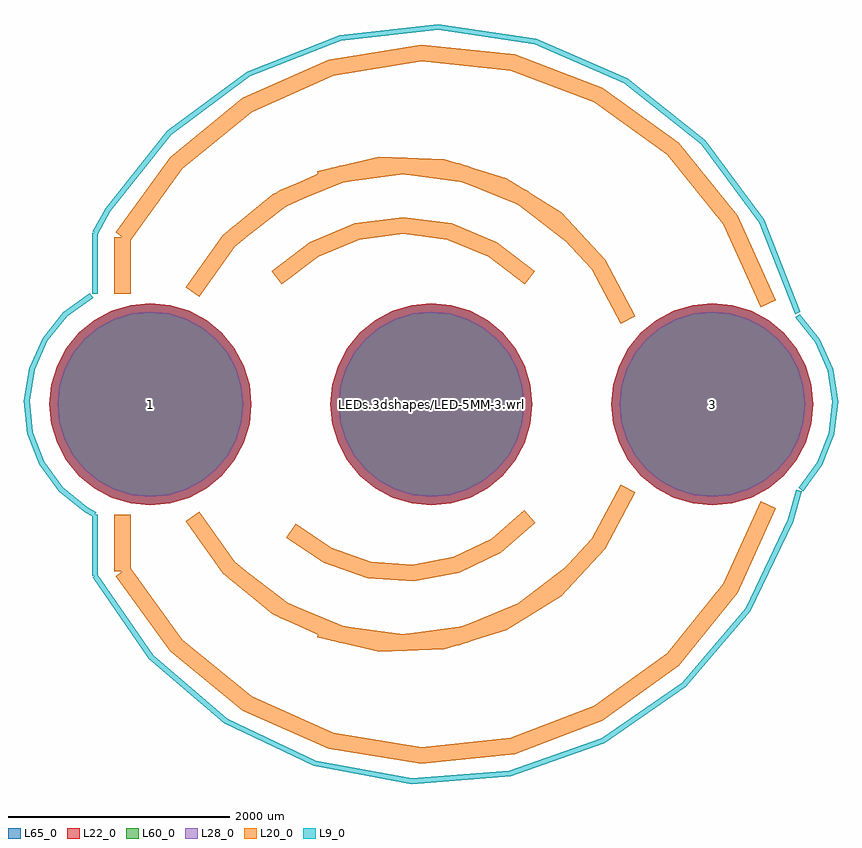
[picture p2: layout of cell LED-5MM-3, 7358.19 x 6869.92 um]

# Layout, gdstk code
import gdstk
lib = gdstk.Library(unit=1e-6, precision=1e-09)
def P(c, l, *ps):  # polygons
    for p in ps: c.add(gdstk.Polygon(p, *l))
L9_0 = (9, 0)
L20_0 = (20, 0)
L22_0 = (22, 0)
L28_0 = (28, 0)
L60_0 = (60, 0)
L65_0 = (65, 0)

led_5mm_3 = lib.new_cell('LED-5MM-3')
P(led_5mm_3, L22_0, [(5993.2,0),(5975.653,178.156),(5923.687,349.467),(5839.298,507.347),(5725.73,645.73),(5587.347,759.298),(5429.467,843.687),(5258.156,895.653),(5080,913.2),(4901.844,895.653),(4730.533,843.687),(4572.653,759.298),(4434.27,645.73),(4320.702,507.347),(4236.313,349.467),(4184.347,178.156),(4166.8,0),(4184.347,-178.156),(4236.313,-349.467),(4320.702,-507.347),(4434.27,-645.73),(4572.653,-759.298),(4730.533,-843.687),(4901.844,-895.653),(5080,-913.2),(5258.156,-895.653),(5429.467,-843.687),(5587.347,-759.298),(5725.73,-645.73),(5839.298,-507.347),(5923.687,-349.467),(5975.653,-178.156)],
  [(3453.2,0),(3435.653,178.156),(3383.687,349.467),(3299.298,507.347),(3185.73,645.73),(3047.347,759.298),(2889.467,843.687),(2718.156,895.653),(2540,913.2),(2361.844,895.653),(2190.533,843.687),(2032.653,759.298),(1894.27,645.73),(1780.702,507.347),(1696.313,349.467),(1644.347,178.156),(1626.8,0),(1644.347,-178.156),(1696.313,-349.467),(1780.702,-507.347),(1894.27,-645.73),(2032.653,-759.298),(2190.533,-843.687),(2361.844,-895.653),(2540,-913.2),(2718.156,-895.653),(2889.467,-843.687),(3047.347,-759.298),(3185.73,-645.73),(3299.298,-507.347),(3383.687,-349.467),(3435.653,-178.156)],
  [(913.2,0),(895.653,178.156),(843.687,349.467),(759.298,507.347),(645.73,645.73),(507.347,759.298),(349.467,843.687),(178.156,895.653),(0,913.2),(-178.156,895.653),(-349.467,843.687),(-507.347,759.298),(-645.73,645.73),(-759.298,507.347),(-843.687,349.467),(-895.653,178.156),(-913.2,0),(-895.653,-178.156),(-843.687,-349.467),(-759.298,-507.347),(-645.73,-645.73),(-507.347,-759.298),(-349.467,-843.687),(-178.156,-895.653),(0,-913.2),(178.156,-895.653),(349.467,-843.687),(507.347,-759.298),(645.73,-645.73),(759.298,-507.347),(843.687,-349.467),(895.653,-178.156)])
P(led_5mm_3, L28_0, [(5918.2,0),(5902.094,163.525),(5854.396,320.765),(5776.938,465.679),(5672.697,592.697),(5545.679,696.938),(5400.765,774.396),(5243.525,822.094),(5080,838.2),(4916.475,822.094),(4759.235,774.396),(4614.321,696.938),(4487.303,592.697),(4383.062,465.679),(4305.604,320.765),(4257.906,163.525),(4241.8,0),(4257.906,-163.525),(4305.604,-320.765),(4383.062,-465.679),(4487.303,-592.697),(4614.321,-696.938),(4759.235,-774.396),(4916.475,-822.094),(5080,-838.2),(5243.525,-822.094),(5400.765,-774.396),(5545.679,-696.938),(5672.697,-592.697),(5776.938,-465.679),(5854.396,-320.765),(5902.094,-163.525)],
  [(3378.2,0),(3362.094,163.525),(3314.396,320.765),(3236.938,465.679),(3132.697,592.697),(3005.679,696.938),(2860.765,774.396),(2703.525,822.094),(2540,838.2),(2376.475,822.094),(2219.235,774.396),(2074.321,696.938),(1947.303,592.697),(1843.062,465.679),(1765.604,320.765),(1717.906,163.525),(1701.8,0),(1717.906,-163.525),(1765.604,-320.765),(1843.062,-465.679),(1947.303,-592.697),(2074.321,-696.938),(2219.235,-774.396),(2376.475,-822.094),(2540,-838.2),(2703.525,-822.094),(2860.765,-774.396),(3005.679,-696.938),(3132.697,-592.697),(3236.938,-465.679),(3314.396,-320.765),(3362.094,-163.525)],
  [(838.2,0),(822.094,163.525),(774.396,320.765),(696.938,465.679),(592.697,592.697),(465.679,696.938),(320.765,774.396),(163.525,822.094),(0,838.2),(-163.525,822.094),(-320.765,774.396),(-465.679,696.938),(-592.697,592.697),(-696.938,465.679),(-774.396,320.765),(-822.094,163.525),(-838.2,0),(-822.094,-163.525),(-774.396,-320.765),(-696.938,-465.679),(-592.697,-592.697),(-465.679,-696.938),(-320.765,-774.396),(-163.525,-822.094),(0,-838.2),(163.525,-822.094),(320.765,-774.396),(465.679,-696.938),(592.697,-592.697),(696.938,-465.679),(774.396,-320.765),(822.094,-163.525)])
P(led_5mm_3, L60_0, [(5918.2,0),(5902.094,163.525),(5854.396,320.765),(5776.938,465.679),(5672.697,592.697),(5545.679,696.938),(5400.765,774.396),(5243.525,822.094),(5080,838.2),(4916.475,822.094),(4759.235,774.396),(4614.321,696.938),(4487.303,592.697),(4383.062,465.679),(4305.604,320.765),(4257.906,163.525),(4241.8,0),(4257.906,-163.525),(4305.604,-320.765),(4383.062,-465.679),(4487.303,-592.697),(4614.321,-696.938),(4759.235,-774.396),(4916.475,-822.094),(5080,-838.2),(5243.525,-822.094),(5400.765,-774.396),(5545.679,-696.938),(5672.697,-592.697),(5776.938,-465.679),(5854.396,-320.765),(5902.094,-163.525)],
  [(3378.2,0),(3362.094,163.525),(3314.396,320.765),(3236.938,465.679),(3132.697,592.697),(3005.679,696.938),(2860.765,774.396),(2703.525,822.094),(2540,838.2),(2376.475,822.094),(2219.235,774.396),(2074.321,696.938),(1947.303,592.697),(1843.062,465.679),(1765.604,320.765),(1717.906,163.525),(1701.8,0),(1717.906,-163.525),(1765.604,-320.765),(1843.062,-465.679),(1947.303,-592.697),(2074.321,-696.938),(2219.235,-774.396),(2376.475,-822.094),(2540,-838.2),(2703.525,-822.094),(2860.765,-774.396),(3005.679,-696.938),(3132.697,-592.697),(3236.938,-465.679),(3314.396,-320.765),(3362.094,-163.525)],
  [(838.2,0),(822.094,163.525),(774.396,320.765),(696.938,465.679),(592.697,592.697),(465.679,696.938),(320.765,774.396),(163.525,822.094),(0,838.2),(-163.525,822.094),(-320.765,774.396),(-465.679,696.938),(-592.697,592.697),(-696.938,465.679),(-774.396,320.765),(-822.094,163.525),(-838.2,0),(-822.094,-163.525),(-774.396,-320.765),(-696.938,-465.679),(-592.697,-592.697),(-465.679,-696.938),(-320.765,-774.396),(-163.525,-822.094),(0,-838.2),(163.525,-822.094),(320.765,-774.396),(465.679,-696.938),(592.697,-592.697),(696.938,-465.679),(774.396,-320.765),(822.094,-163.525)])
P(led_5mm_3, L65_0, [(5993.2,0),(5975.653,178.156),(5923.687,349.467),(5839.298,507.347),(5725.73,645.73),(5587.347,759.298),(5429.467,843.687),(5258.156,895.653),(5080,913.2),(4901.844,895.653),(4730.533,843.687),(4572.653,759.298),(4434.27,645.73),(4320.702,507.347),(4236.313,349.467),(4184.347,178.156),(4166.8,0),(4184.347,-178.156),(4236.313,-349.467),(4320.702,-507.347),(4434.27,-645.73),(4572.653,-759.298),(4730.533,-843.687),(4901.844,-895.653),(5080,-913.2),(5258.156,-895.653),(5429.467,-843.687),(5587.347,-759.298),(5725.73,-645.73),(5839.298,-507.347),(5923.687,-349.467),(5975.653,-178.156)],
  [(3453.2,0),(3435.653,178.156),(3383.687,349.467),(3299.298,507.347),(3185.73,645.73),(3047.347,759.298),(2889.467,843.687),(2718.156,895.653),(2540,913.2),(2361.844,895.653),(2190.533,843.687),(2032.653,759.298),(1894.27,645.73),(1780.702,507.347),(1696.313,349.467),(1644.347,178.156),(1626.8,0),(1644.347,-178.156),(1696.313,-349.467),(1780.702,-507.347),(1894.27,-645.73),(2032.653,-759.298),(2190.533,-843.687),(2361.844,-895.653),(2540,-913.2),(2718.156,-895.653),(2889.467,-843.687),(3047.347,-759.298),(3185.73,-645.73),(3299.298,-507.347),(3383.687,-349.467),(3435.653,-178.156)],
  [(913.2,0),(895.653,178.156),(843.687,349.467),(759.298,507.347),(645.73,645.73),(507.347,759.298),(349.467,843.687),(178.156,895.653),(0,913.2),(-178.156,895.653),(-349.467,843.687),(-507.347,759.298),(-645.73,645.73),(-759.298,507.347),(-843.687,349.467),(-895.653,178.156),(-913.2,0),(-895.653,-178.156),(-843.687,-349.467),(-759.298,-507.347),(-645.73,-645.73),(-507.347,-759.298),(-349.467,-843.687),(-178.156,-895.653),(0,-913.2),(178.156,-895.653),(349.467,-843.687),(507.347,-759.298),(645.73,-645.73),(759.298,-507.347),(843.687,-349.467),(895.653,-178.156)])
led_5mm_3.add(gdstk.FlexPath([(-254,1510),(-254,1000)], 149.998, ends="flush", simple_path=True, layer=20, datatype=0))  # L20_0
led_5mm_3.add(gdstk.FlexPath([(-254,-1000),(-254,-1510)], 149.998, ends="flush", simple_path=True, layer=20, datatype=0))  # L20_0
led_5mm_3.add(gdstk.FlexPath([(3810,1524),(3363.631,1866.511),(2843.823,2081.823),(2286,2155.261),(1728.177,2081.823),(1208.369,1866.511),(762,1524)], 149.998, ends="flush", simple_path=True, layer=20, datatype=0))  # L20_0
led_5mm_3.add(gdstk.FlexPath([(762,-1524),(1208.369,-1866.511),(1728.177,-2081.823),(2286,-2155.261),(2843.823,-2081.823),(3363.631,-1866.511),(3810,-1524)], 149.998, ends="flush", simple_path=True, layer=20, datatype=0))  # L20_0
led_5mm_3.add(gdstk.FlexPath([(3302,1905),(2774.33,2103.049),(2213.382,2157.778),(1657.382,2065.459),(1144.222,1832.382),(708.871,1474.431),(381,1016)], 149.998, ends="flush", simple_path=True, layer=20, datatype=0))  # L20_0
led_5mm_3.add(gdstk.FlexPath([(4318,762),(4051.541,1261.956),(3664.764,1675.911),(3184.026,1975.656),(2642.089,2140.763),(2075.885,2159.981),(1524.001,2032)], 149.998, ends="flush", simple_path=True, layer=20, datatype=0))  # L20_0
led_5mm_3.add(gdstk.FlexPath([(1524,-2032),(2075.885,-2159.981),(2642.089,-2140.764),(3184.026,-1975.656),(3664.764,-1675.911),(4051.541,-1261.956),(4318,-762)], 149.998, ends="flush", simple_path=True, layer=20, datatype=0))  # L20_0
led_5mm_3.add(gdstk.FlexPath([(381,-1016),(708.872,-1474.431),(1144.222,-1832.382),(1657.382,-2065.459),(2213.382,-2157.778),(2774.33,-2103.048),(3301.999,-1905)], 149.998, ends="flush", simple_path=True, layer=20, datatype=0))  # L20_0
led_5mm_3.add(gdstk.FlexPath([(1270,-1143),(1600.45,-1367.013),(1977.618,-1497.867),(2375.803,-1526.644),(2767.867,-1451.382),(3127.093,-1277.211),(3429,-1016)], 149.998, ends="flush", simple_path=True, layer=20, datatype=0))  # L20_0
led_5mm_3.add(gdstk.FlexPath([(3429,1143),(3094.223,1399.883),(2704.367,1561.367),(2286,1616.446),(1867.633,1561.367),(1477.777,1399.883),(1143,1143)], 149.998, ends="flush", simple_path=True, layer=20, datatype=0))  # L20_0
led_5mm_3.add(gdstk.FlexPath([(-500,-1000),(-500,-1550)], 50, ends="flush", simple_path=True, layer=9, datatype=0))  # L9_0
led_5mm_3.add(gdstk.FlexPath([(-500,1000),(-500,1550)], 50, ends="flush", simple_path=True, layer=9, datatype=0))  # L9_0
led_5mm_3.add(gdstk.FlexPath([(5583.387,907.925),(5244.698,1664.675),(4721.688,2307.98),(4050,2794),(3275.407,3089.613),(2450.698,3174.675),(1632.075,3043.387),(875.325,2704.698),(232.02,2181.688),(-254,1510)], 149.998, ends="flush", simple_path=True, layer=20, datatype=0))  # L20_0
led_5mm_3.add(gdstk.FlexPath([(-254,-1510),(232.02,-2181.688),(875.325,-2704.698),(1632.075,-3043.387),(2450.698,-3174.675),(3275.408,-3089.613),(4050,-2794),(4721.688,-2307.98),(5244.698,-1664.675),(5583.387,-907.925)], 149.998, ends="flush", simple_path=True, layer=20, datatype=0))  # L20_0
led_5mm_3.add(gdstk.FlexPath([(-500,-1550),(4.755,-2283.995),(682.283,-2862.339),(1486.411,-3245.62),(2362.339,-3407.717),(3250.375,-3337.584),(4090,-3040),(4823.995,-2535.245),(5402.339,-1857.717),(5785.62,-1053.589),(5862.399,-778.307)], 50, ends="flush", simple_path=True, layer=9, datatype=0))  # L9_0
led_5mm_3.add(gdstk.FlexPath([(5880,-770),(6052.031,-536.708),(6157.82,-266.84),(6190.158,21.213),(6146.84,307.82),(6030.818,573.45),(5850,800)], 50, ends="flush", simple_path=True, layer=9, datatype=0))  # L9_0
led_5mm_3.add(gdstk.FlexPath([(5851.208,824.619),(5524.954,1653.525),(4995.281,2369.745),(4298.284,2924.472),(3481.463,3279.9),(2600.483,3411.809),(1715.381,3311.208),(886.475,2984.955),(170.255,2455.281),(-384.472,1758.284),(-500,1550)], 50, ends="flush", simple_path=True, layer=9, datatype=0))  # L9_0
led_5mm_3.add(gdstk.FlexPath([(-532.363,983.152),(-768.682,811.866),(-952.616,585.253),(-1071.631,318.756),(-1117.616,30.536),(-1087.438,-259.765),(-983.153,-532.363),(-811.867,-768.682),(-585.254,-952.617),(-500,-1000)], 50, ends="flush", simple_path=True, layer=9, datatype=0))  # L9_0
led_5mm_3.add(gdstk.Label('LEDs.3dshapes/LED-5MM-3.wrl', (2540,0), layer=12, texttype=0))
led_5mm_3.add(gdstk.Label('3', (5080,0), layer=28, texttype=0))
led_5mm_3.add(gdstk.Label('2', (2540,0), layer=28, texttype=0))
led_5mm_3.add(gdstk.Label('1', (0,0), layer=28, texttype=0))
led_5mm_3.add(gdstk.Label('type', (2580.64,-4221.48), layer=9, texttype=0))
led_5mm_3.add(gdstk.Label('devicename', (2545.08,3916.68), layer=9, texttype=0))

lib.write_gds('LED-5MM-3.gds')
